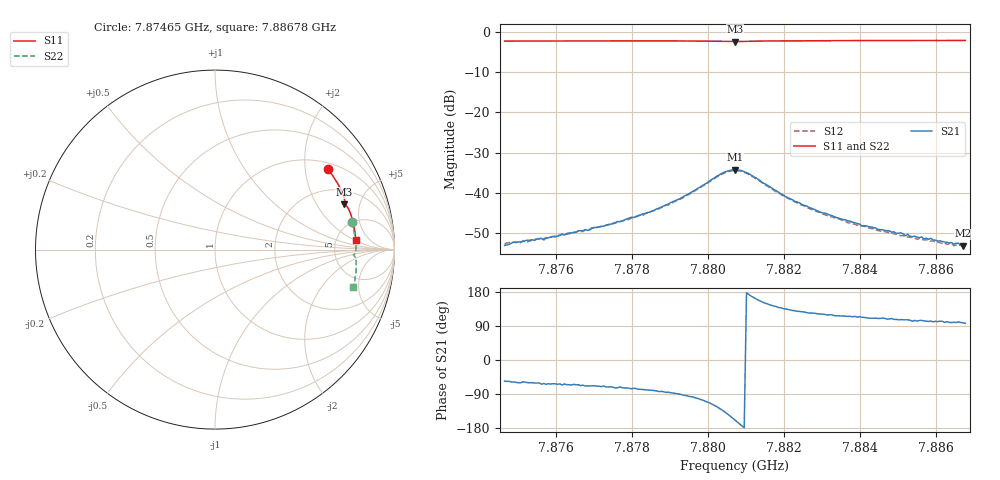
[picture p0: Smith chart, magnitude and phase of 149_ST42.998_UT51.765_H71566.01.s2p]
#  HZ  S  DB  R  50.00
! Rohde & Schwarz Vector Network Analyzer
! Rohde-Schwarz,ZNB20-2Port,1311601062101988,3.16
! Created: UTC 1/12/2023, 6:40:23 PM
! freq[Hz]  db:S11  ang:S11  db:S21  ang:S21  db:S12  ang:S12  db:S22  ang:S22
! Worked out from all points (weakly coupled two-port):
!   201 points, 7.87465 GHz to 7.88678 GHz, reference 50 ohm
!   highest |S21| = -34.26 dB at 7.88071 GHz (marker M1); lowest = -53.2 dB at 7.88672 GHz (marker M2)
!   lowest |S11| = -2.4 dB at 7.88071 GHz (marker M3), VSWR 7.44, Z = 147 + j178 ohm
!   |S11| at or under -10 dB: nowhere
!   |S22| runs from -2.3 to -2.0 dB; largest |S21 - S12| = 0.0013
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7.87465e9  -2.24 35.4  -53.08 -55.6  -52.67 -61.5  -2.19 11.4
7.875256e9  -2.24 33.7  -51.78 -59.7  -52.21 -62.8  -2.19 9.9
7.87562e9  -2.23 32.7  -51.33 -63.8  -51.47 -65.5  -2.17 9.1
7.875681e9  -2.22 32.6  -51.74 -62.0  -51.41 -64.2  -2.16 8.9
7.876712e9  -2.21 29.8  -49.45 -66.6  -49.64 -69.1  -2.14 6.5
7.877682e9  -2.19 27.1  -47.19 -71.0  -47.16 -76.0  -2.11 4.2
7.878713e9  -2.19 24.2  -43.82 -83.3  -43.98 -85.9  -2.10 1.8
7.879441e9  -2.21 22.1  -40.52 -94.2  -40.74 -97.4  -2.11 -0.0
7.880412e9  -2.32 19.6  -34.97 -134.5  -35.17 -138.0  -2.22 -2.2
7.880715e9  -2.35 19.3  -34.26 -158.6  -34.41 -161.9  -2.25 -2.3
7.881079e9  -2.30 19.0  -35.23 172.8  -35.46 169.6  -2.20 -2.5
7.882049e9  -2.17 16.4  -40.95 134.9  -41.09 131.5  -2.06 -4.6
7.882777e9  -2.14 14.4  -44.02 123.7  -44.39 120.5  -2.03 -6.3
7.884051e9  -2.12 11.0  -48.20 112.8  -48.22 109.4  -1.99 -9.2
7.884779e9  -2.10 9.0  -49.47 108.3  -49.91 104.2  -1.98 -10.9
7.885507e9  -2.10 7.2  -51.02 102.8  -51.61 102.2  -1.97 -12.5
7.886295e9  -2.09 5.1  -52.32 101.1  -52.87 97.5  -1.96 -14.1
7.886416e9  -2.09 4.8  -52.40 98.6  -52.60 96.7  -1.96 -14.4
7.886477e9  -2.09 4.6  -52.81 99.6  -53.17 97.9  -1.96 -14.5
7.886598e9  -2.09 4.3  -52.55 100.9  -53.08 97.2  -1.96 -14.8
7.88672e9  -2.08 4.0  -53.19 97.9  -53.21 95.1  -1.95 -15.0
7.88678e9  -2.09 3.8  -52.86 97.0  -53.28 96.4  -1.96 -15.2
